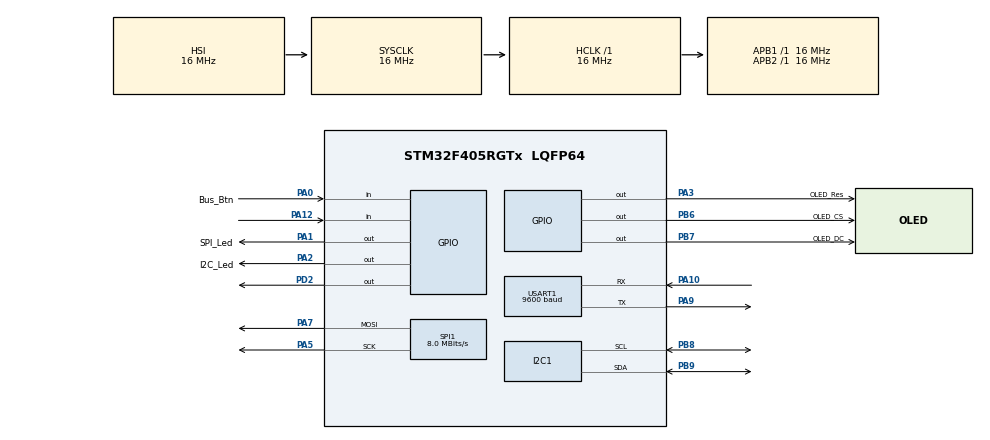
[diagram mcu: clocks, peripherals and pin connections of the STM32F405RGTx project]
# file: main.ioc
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Mcu.Family=STM32F4
Mcu.Name=STM32F405RGTx
Mcu.Package=LQFP64
NVIC.PriorityGroup=NVIC_PRIORITYGROUP_4
PA0-WKUP.GPIO_Label=Bus_Btn
PA0-WKUP.Signal=GPIO_Input
PA1.GPIO_Label=SPI_Led
PA1.Signal=GPIO_Output
PA10.Mode=Asynchronous
PA10.Signal=USART1_RX
PA12.Signal=GPIO_Input
PA13.Mode=Serial_Wire
PA13.Signal=SYS_JTMS-SWDIO
PA14.Mode=Serial_Wire
PA14.Signal=SYS_JTCK-SWCLK
PA2.GPIO_Label=I2C_Led
PA2.Signal=GPIO_Output
PA3.GPIO_Label=OLED_Res
PA3.Signal=GPIO_Output
PA5.Mode=TX_Only_Simplex_Unidirect_Master
PA5.Signal=SPI1_SCK
PA7.Mode=TX_Only_Simplex_Unidirect_Master
PA7.Signal=SPI1_MOSI
PA9.Mode=Asynchronous
PA9.Signal=USART1_TX
PB6.GPIO_Label=OLED_CS
PB6.Signal=GPIO_Output
PB7.GPIO_Label=OLED_DC
PB7.Signal=GPIO_Output
PB8.Mode=I2C
PB8.Signal=I2C1_SCL
PB9.Mode=I2C
PB9.Signal=I2C1_SDA
PC14-OSC32_IN.Mode=LSE-External-Oscillator
PC14-OSC32_IN.Signal=RCC_OSC32_IN
PC15-OSC32_OUT.Mode=LSE-External-Oscillator
PC15-OSC32_OUT.Signal=RCC_OSC32_OUT
PD2.Signal=GPIO_Output
PH0-OSC_IN.Mode=HSE-External-Oscillator
PH0-OSC_IN.Signal=RCC_OSC_IN
PH1-OSC_OUT.Mode=HSE-External-Oscillator
PH1-OSC_OUT.Signal=RCC_OSC_OUT
ProjectManager.HeapSize=0x200
ProjectManager.StackSize=0x400
ProjectManager.TargetToolchain=Makefile
RCC.48MHZClocksFreq_Value=48000000
RCC.AHBFreq_Value=16000000
RCC.APB1Freq_Value=16000000
RCC.APB2Freq_Value=16000000
RCC.CortexFreq_Value=16000000
RCC.HSE_VALUE=16000000
RCC.HSI_VALUE=16000000
RCC.PLLSourceVirtual=RCC_PLLSOURCE_HSE
RCC.RCC_RTC_Clock_Source=RCC_RTCCLKSOURCE_LSE
RCC.RCC_RTC_Clock_SourceVirtual=RCC_RTCCLKSOURCE_LSE
RCC.SYSCLKFreq_VALUE=16000000
RCC.VCOOutputFreq_Value=192000000
SPI1.BaudRatePrescaler=SPI_BAUDRATEPRESCALER_2
SPI1.CalculateBaudRate=8.0 MBits/s
SPI1.Direction=SPI_DIRECTION_2LINES
SPI1.Mode=SPI_MODE_MASTER
SPI1.VirtualType=VM_MASTER
USART1.BaudRate=9600
USART1.VirtualMode=VM_ASYNC
VP_RTC_VS_RTC_Activate.Mode=RTC_Enabled
VP_RTC_VS_RTC_Calendar.Mode=RTC_Calendar
board=main

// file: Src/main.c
#include "main.h"
#include "stm32f4xx_hal.h"

/* USER CODE BEGIN Includes */
/* vim: set ai et ts=4 sw=4: */
#include <string.h>
#include <stdarg.h>
#include <stdbool.h>
#include "ssd1306.h"
#include "ssd1306_tests.h"

/* USER CODE END Includes */

I2C_HandleTypeDef hi2c1;

RTC_HandleTypeDef hrtc;
RTC_TimeTypeDef sTime;
RTC_DateTypeDef sDate;

SPI_HandleTypeDef hspi1;

UART_HandleTypeDef huart1;

/* USER CODE BEGIN PV */
/* Private variables ---------------------------------------------------------*/

/* USER CODE END PV */

void SystemClock_Config(void);
static void MX_GPIO_Init(void);
static void MX_USART1_UART_Init(void);
static void MX_RTC_Init(void);
static void MX_SPI1_Init(void);
static void MX_I2C1_Init(void);

/* USER CODE BEGIN PFP */
/* Private function prototypes -----------------------------------------------*/

/* USER CODE END PFP */

/* USER CODE BEGIN 0 */

static bool use_i2c;

void UART_Printf(const char* fmt, ...) {
    char buff[256];
    va_list args;
    va_start(args, fmt);
    vsnprintf(buff, sizeof(buff), fmt, args);
    HAL_UART_Transmit(&huart1, (uint8_t*)buff, strlen(buff),
                      HAL_MAX_DELAY);
    va_end(args);
}

void I2C_Scan() {
    char info[] = "Scanning I2C bus...\r\n";
    HAL_UART_Transmit(&huart1, (uint8_t*)info, strlen(info),
                      HAL_MAX_DELAY);

    HAL_StatusTypeDef res;
    for(uint16_t i = 0; i < 128; i++) {
        res = HAL_I2C_IsDeviceReady(&hi2c1, i << 1, 1, 200);
        if(res == HAL_OK) {
            char msg[64];
            snprintf(msg, sizeof(msg), "0x%02X", i);
            HAL_UART_Transmit(&huart1, (uint8_t*)msg, strlen(msg),
                              HAL_MAX_DELAY);
        } else {
            HAL_UART_Transmit(&huart1, (uint8_t*)".", 1,
                              HAL_MAX_DELAY);
        }
    }

    HAL_UART_Transmit(&huart1, (uint8_t*)"\r\n", 2, HAL_MAX_DELAY);
}

void init() {
    I2C_Scan();

	HAL_GPIO_WritePin(SPI_Led_GPIO_Port, SPI_Led_Pin, GPIO_PIN_RESET);
	HAL_GPIO_WritePin(I2C_Led_GPIO_Port, I2C_Led_Pin, GPIO_PIN_RESET);

    use_i2c = false;
    ssd1306_Use_SPI();
    ssd1306_Init();
}

void loop() {
    HAL_Delay(100);

    // User button pressed - repeast the test
    if(HAL_GPIO_ReadPin(GPIOA, GPIO_PIN_12) == GPIO_PIN_RESET) {
		// Indicate that test is running
		if(use_i2c) {
			HAL_GPIO_WritePin(I2C_Led_GPIO_Port, I2C_Led_Pin, GPIO_PIN_SET);
			ssd1306_Use_I2C();
		} else {
			HAL_GPIO_WritePin(SPI_Led_GPIO_Port, SPI_Led_Pin, GPIO_PIN_SET);
			ssd1306_Use_SPI();
		}

        ssd1306_Init();
		ssd1306_TestAll();
        HAL_Delay(1000);

		HAL_GPIO_WritePin(SPI_Led_GPIO_Port, SPI_Led_Pin, GPIO_PIN_RESET);
		HAL_GPIO_WritePin(I2C_Led_GPIO_Port, I2C_Led_Pin, GPIO_PIN_RESET);
    }

	// 'BUS' button pressed - change the protocol
    if(HAL_GPIO_ReadPin(Bus_Btn_GPIO_Port, Bus_Btn_Pin) == GPIO_PIN_SET) {
		HAL_GPIO_WritePin(SPI_Led_GPIO_Port, SPI_Led_Pin, GPIO_PIN_RESET);
		HAL_GPIO_WritePin(I2C_Led_GPIO_Port, I2C_Led_Pin, GPIO_PIN_RESET);
		use_i2c = !use_i2c;
    }

	// Blink an LED
	if(use_i2c) {
		HAL_GPIO_TogglePin(I2C_Led_GPIO_Port, I2C_Led_Pin);
	} else {
		HAL_GPIO_TogglePin(SPI_Led_GPIO_Port, SPI_Led_Pin);
	}
}

/* USER CODE END 0 */

int main(void)
{

  /* MCU Configuration----------------------------------------------------------*/

  /* Reset of all peripherals, Initializes the Flash interface and the Systick. */
  HAL_Init();

  /* Configure the system clock */
  SystemClock_Config();

  /* Initialize all configured peripherals */
  MX_GPIO_Init();
  MX_USART1_UART_Init();
  MX_RTC_Init();
  MX_SPI1_Init();
  MX_I2C1_Init();

  /* Infinite loop */
  /* USER CODE BEGIN WHILE */
  init();
  while (1)
  {
    loop();
  /* USER CODE END WHILE */

  }

}

/** System Clock Configuration
*/
void SystemClock_Config(void)
{

  RCC_OscInitTypeDef RCC_OscInitStruct;
  RCC_ClkInitTypeDef RCC_ClkInitStruct;
  RCC_PeriphCLKInitTypeDef PeriphClkInitStruct;

    /**Configure the main internal regulator output voltage
    */
  __HAL_RCC_PWR_CLK_ENABLE();

  __HAL_PWR_VOLTAGESCALING_CONFIG(PWR_REGULATOR_VOLTAGE_SCALE1);

    /**Initializes the CPU, AHB and APB busses clocks
    */
  RCC_OscInitStruct.OscillatorType = RCC_OSCILLATORTYPE_HSI|RCC_OSCILLATORTYPE_LSE;
  RCC_OscInitStruct.LSEState = RCC_LSE_ON;
  RCC_OscInitStruct.HSIState = RCC_HSI_ON;
  RCC_OscInitStruct.HSICalibrationValue = 16;
  RCC_OscInitStruct.PLL.PLLState = RCC_PLL_NONE;
  if (HAL_RCC_OscConfig(&RCC_OscInitStruct) != HAL_OK)
  {
    _Error_Handler(__FILE__, __LINE__);
  }

    /**Initializes the CPU, AHB and APB busses clocks
    */
  RCC_ClkInitStruct.ClockType = RCC_CLOCKTYPE_HCLK|RCC_CLOCKTYPE_SYSCLK
                              |RCC_CLOCKTYPE_PCLK1|RCC_CLOCKTYPE_PCLK2;
  RCC_ClkInitStruct.SYSCLKSource = RCC_SYSCLKSOURCE_HSI;
  RCC_ClkInitStruct.AHBCLKDivider = RCC_SYSCLK_DIV1;
  RCC_ClkInitStruct.APB1CLKDivider = RCC_HCLK_DIV1;
  RCC_ClkInitStruct.APB2CLKDivider = RCC_HCLK_DIV1;

  if (HAL_RCC_ClockConfig(&RCC_ClkInitStruct, FLASH_LATENCY_0) != HAL_OK)
  {
    _Error_Handler(__FILE__, __LINE__);
  }

  PeriphClkInitStruct.PeriphClockSelection = RCC_PERIPHCLK_RTC;
  PeriphClkInitStruct.RTCClockSelection = RCC_RTCCLKSOURCE_LSE;
  if (HAL_RCCEx_PeriphCLKConfig(&PeriphClkInitStruct) != HAL_OK)
  {
    _Error_Handler(__FILE__, __LINE__);
  }

    /**Configure the Systick interrupt time
    */
  HAL_SYSTICK_Config(HAL_RCC_GetHCLKFreq()/1000);

    /**Configure the Systick
    */
  HAL_SYSTICK_CLKSourceConfig(SYSTICK_CLKSOURCE_HCLK);

  /* SysTick_IRQn interrupt configuration */
  HAL_NVIC_SetPriority(SysTick_IRQn, 0, 0);
}

/* I2C1 init function */
static void MX_I2C1_Init(void)
{

  hi2c1.Instance = I2C1;
  hi2c1.Init.ClockSpeed = 100000;
  hi2c1.Init.DutyCycle = I2C_DUTYCYCLE_2;
  hi2c1.Init.OwnAddress1 = 0;
  hi2c1.Init.AddressingMode = I2C_ADDRESSINGMODE_7BIT;
  hi2c1.Init.DualAddressMode = I2C_DUALADDRESS_DISABLE;
  hi2c1.Init.OwnAddress2 = 0;
  hi2c1.Init.GeneralCallMode = I2C_GENERALCALL_DISABLE;
  hi2c1.Init.NoStretchMode = I2C_NOSTRETCH_DISABLE;
  if (HAL_I2C_Init(&hi2c1) != HAL_OK)
  {
    _Error_Handler(__FILE__, __LINE__);
  }

}

/* RTC init function */
static void MX_RTC_Init(void)
{

    /**Initialize RTC Only
    */
  hrtc.Instance = RTC;
  hrtc.Init.HourFormat = RTC_HOURFORMAT_24;
  hrtc.Init.AsynchPrediv = 127;
  hrtc.Init.SynchPrediv = 255;
  hrtc.Init.OutPut = RTC_OUTPUT_DISABLE;
  hrtc.Init.OutPutPolarity = RTC_OUTPUT_POLARITY_HIGH;
  hrtc.Init.OutPutType = RTC_OUTPUT_TYPE_OPENDRAIN;
  if (HAL_RTC_Init(&hrtc) != HAL_OK)
  {
    _Error_Handler(__FILE__, __LINE__);
  }

    /**Initialize RTC and set the Time and Date
    */
  if(HAL_RTCEx_BKUPRead(&hrtc, RTC_BKP_DR0) != 0x32F2){
  if (HAL_RTC_SetTime(&hrtc, &sTime, RTC_FORMAT_BCD) != HAL_OK)
  {
    _Error_Handler(__FILE__, __LINE__);
  }

  if (HAL_RTC_SetDate(&hrtc, &sDate, RTC_FORMAT_BCD) != HAL_OK)
  {
    _Error_Handler(__FILE__, __LINE__);
  }

    HAL_RTCEx_BKUPWrite(&hrtc,RTC_BKP_DR0,0x32F2);
  }

}

/* SPI1 init function */
static void MX_SPI1_Init(void)
{

  /* SPI1 parameter configuration*/
  hspi1.Instance = SPI1;
  hspi1.Init.Mode = SPI_MODE_MASTER;
  hspi1.Init.Direction = SPI_DIRECTION_2LINES;
  hspi1.Init.DataSize = SPI_DATASIZE_8BIT;
  hspi1.Init.CLKPolarity = SPI_POLARITY_LOW;
  hspi1.Init.CLKPhase = SPI_PHASE_1EDGE;
  hspi1.Init.NSS = SPI_NSS_SOFT;
  hspi1.Init.BaudRatePrescaler = SPI_BAUDRATEPRESCALER_2;
  hspi1.Init.FirstBit = SPI_FIRSTBIT_MSB;
  hspi1.Init.TIMode = SPI_TIMODE_DISABLE;
  hspi1.Init.CRCCalculation = SPI_CRCCALCULATION_DISABLE;
  hspi1.Init.CRCPolynomial = 10;
  if (HAL_SPI_Init(&hspi1) != HAL_OK)
  {
    _Error_Handler(__FILE__, __LINE__);
  }

}

/* USART1 init function */
static void MX_USART1_UART_Init(void)
{

  huart1.Instance = USART1;
  huart1.Init.BaudRate = 9600;
  huart1.Init.WordLength = UART_WORDLENGTH_8B;
  huart1.Init.StopBits = UART_STOPBITS_1;
  huart1.Init.Parity = UART_PARITY_NONE;
  huart1.Init.Mode = UART_MODE_TX_RX;
  huart1.Init.HwFlowCtl = UART_HWCONTROL_NONE;
  huart1.Init.OverSampling = UART_OVERSAMPLING_16;
  if (HAL_UART_Init(&huart1) != HAL_OK)
  {
    _Error_Handler(__FILE__, __LINE__);
  }

}

/** Configure pins as
        * Analog
        * Input
        * Output
        * EVENT_OUT
        * EXTI
*/
static void MX_GPIO_Init(void)
{

  GPIO_InitTypeDef GPIO_InitStruct;

  /* GPIO Ports Clock Enable */
  __HAL_RCC_GPIOC_CLK_ENABLE();
  __HAL_RCC_GPIOH_CLK_ENABLE();
  __HAL_RCC_GPIOA_CLK_ENABLE();
  __HAL_RCC_GPIOD_CLK_ENABLE();
  __HAL_RCC_GPIOB_CLK_ENABLE();

  /*Configure GPIO pin Output Level */
  HAL_GPIO_WritePin(GPIOA, SPI_Led_Pin|I2C_Led_Pin|OLED_Res_Pin, GPIO_PIN_RESET);

  /*Configure GPIO pin Output Level */
  HAL_GPIO_WritePin(GPIOD, GPIO_PIN_2, GPIO_PIN_RESET);

  /*Configure GPIO pin Output Level */
  HAL_GPIO_WritePin(GPIOB, OLED_CS_Pin|OLED_DC_Pin, GPIO_PIN_RESET);

  /*Configure GPIO pins : Bus_Btn_Pin PA12 */
  GPIO_InitStruct.Pin = Bus_Btn_Pin|GPIO_PIN_12;
  GPIO_InitStruct.Mode = GPIO_MODE_INPUT;
  GPIO_InitStruct.Pull = GPIO_NOPULL;
  HAL_GPIO_Init(GPIOA, &GPIO_InitStruct);

  /*Configure GPIO pins : SPI_Led_Pin I2C_Led_Pin OLED_Res_Pin */
  GPIO_InitStruct.Pin = SPI_Led_Pin|I2C_Led_Pin|OLED_Res_Pin;
  GPIO_InitStruct.Mode = GPIO_MODE_OUTPUT_PP;
  GPIO_InitStruct.Pull = GPIO_NOPULL;
  GPIO_InitStruct.Speed = GPIO_SPEED_FREQ_LOW;
  HAL_GPIO_Init(GPIOA, &GPIO_InitStruct);

  /*Configure GPIO pin : PD2 */
  GPIO_InitStruct.Pin = GPIO_PIN_2;
  GPIO_InitStruct.Mode = GPIO_MODE_OUTPUT_PP;
  GPIO_InitStruct.Pull = GPIO_NOPULL;
  GPIO_InitStruct.Speed = GPIO_SPEED_FREQ_LOW;
  HAL_GPIO_Init(GPIOD, &GPIO_InitStruct);

  /*Configure GPIO pins : OLED_CS_Pin OLED_DC_Pin */
  GPIO_InitStruct.Pin = OLED_CS_Pin|OLED_DC_Pin;
  GPIO_InitStruct.Mode = GPIO_MODE_OUTPUT_PP;
  GPIO_InitStruct.Pull = GPIO_NOPULL;
  GPIO_InitStruct.Speed = GPIO_SPEED_FREQ_LOW;
  HAL_GPIO_Init(GPIOB, &GPIO_InitStruct);

}

void _Error_Handler(char * file, int line)
{
  while(1)
  {
  }
}

/************************ (C) COPYRIGHT STMicroelectronics *****END OF FILE****/
